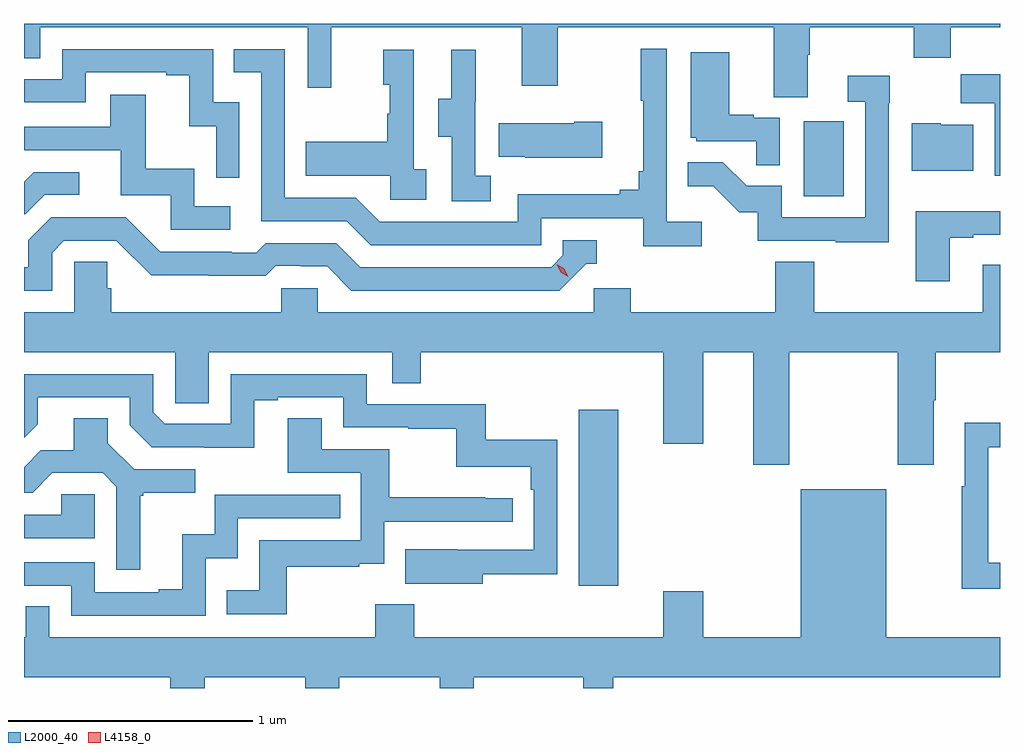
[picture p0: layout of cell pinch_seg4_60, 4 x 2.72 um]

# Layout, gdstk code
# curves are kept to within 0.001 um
import gdstk
lib = gdstk.Library(unit=1e-6, precision=1e-09)
def R(c, l, rs):  # rectangles x0, y0, x1, y1
    for r in rs: c.add(gdstk.rectangle(r[:2], r[2:], *l))
def P(c, l, *ps):  # polygons
    for p in ps: c.add(gdstk.Polygon(p, *l))
L2000_40 = (2000, 40)
L4158_0 = (4158, 0)

pinch_seg4_60 = lib.new_cell('pinch_seg4_60')
R(pinch_seg4_60, L2000_40, [(1039.787,830.496,1039.948,831.217), (1040.708,832.092,1040.872,832.399)])
P(pinch_seg4_60, L2000_40, [(1040.725,832.672),(1040.733,832.672),(1040.733,832.784),(1041.16,832.784),(1041.16,832.66),(1041.311,832.66),(1041.311,832.784),(1041.513,832.784),(1041.513,832.799),(1037.513,832.799),(1037.513,832.657),(1037.58,832.657),(1037.58,832.784),(1038.675,832.784),(1038.675,832.536),(1038.773,832.536),(1038.773,832.784),(1039.553,832.784),(1039.553,832.545),(1039.701,832.545),(1039.701,832.784),(1040.585,832.784),(1040.585,832.498),(1040.725,832.498)],
  [(1040.29,831.988),(1040.148,831.988),(1040.148,832.696),(1040.04,832.696),(1040.04,832.483),(1040.051,832.483),(1040.051,832.195),(1040.032,832.195),(1040.032,832.118),(1039.955,832.118),(1039.955,832.099),(1039.536,832.099),(1039.536,831.987),(1038.972,831.987),(1038.873,832.086),(1038.582,832.086),(1038.582,832.695),(1038.373,832.695),(1038.373,832.599),(1038.486,832.599),(1038.486,831.99),(1038.836,831.99),(1038.935,831.891),(1039.632,831.891),(1039.632,832.002),(1040.051,832.002),(1040.051,831.886),(1040.29,831.886)],
  [(1038.396,832.476),(1038.288,832.476),(1038.288,832.695),(1037.67,832.695),(1037.67,832.572),(1037.513,832.572),(1037.513,832.476),(1037.766,832.476),(1037.766,832.599),(1038.095,832.599),(1038.095,832.587),(1038.191,832.587),(1038.191,832.379),(1038.3,832.379),(1038.3,832.167),(1038.396,832.167)],
  [(1039.162,832.202),(1039.11,832.202),(1039.11,832.693),(1038.986,832.693),(1038.986,832.548),(1039.012,832.548),(1039.012,832.43),(1039.002,832.43),(1039.002,832.315),(1038.667,832.315),(1038.667,832.175),(1039.014,832.175),(1039.014,832.077),(1039.162,832.077)],
  [(1039.426,832.175),(1039.362,832.175),(1039.362,832.479),(1039.364,832.479),(1039.364,832.693),(1039.265,832.693),(1039.265,832.491),(1039.211,832.491),(1039.211,832.336),(1039.266,832.336),(1039.266,832.072),(1039.426,832.072)],
  [(1040.61,832.413),(1040.504,832.413),(1040.504,832.426),(1040.404,832.426),(1040.404,832.681),(1040.246,832.681),(1040.246,832.332),(1040.268,832.332),(1040.268,832.317),(1040.515,832.317),(1040.515,832.219),(1040.61,832.219)],
  [(1041.513,832.591),(1041.352,832.591),(1041.352,832.472),(1041.491,832.472),(1041.491,832.176),(1041.513,832.176)],
  [(1041.057,832.472),(1041.062,832.472),(1041.062,832.585),(1040.889,832.585),(1040.889,832.479),(1040.961,832.479),(1040.961,832.005),(1040.619,832.005),(1040.619,832.134),(1040.475,832.134),(1040.377,832.232),(1040.233,832.232),(1040.233,832.133),(1040.337,832.133),(1040.444,832.026),(1040.521,832.026),(1040.521,831.909),(1040.839,831.909),(1040.839,831.904),(1041.057,831.904)],
  [(1038.358,832.05),(1038.21,832.05),(1038.21,832.204),(1038.011,832.204),(1038.011,832.507),(1037.867,832.507),(1037.867,832.377),(1037.513,832.377),(1037.513,832.281),(1037.909,832.281),(1037.909,832.095),(1038.114,832.095),(1038.114,831.954),(1038.358,831.954)],
  [(1039.882,832.398),(1039.769,832.398),(1039.769,832.39),(1039.459,832.39),(1039.459,832.253),(1039.567,832.253),(1039.567,832.25),(1039.882,832.25)],
  [(1041.403,832.384),(1041.27,832.384),(1041.27,832.39),(1041.152,832.39),(1041.152,832.196),(1041.403,832.196)],
  [(1037.598,832.098),(1037.74,832.098),(1037.74,832.191),(1037.552,832.191),(1037.513,832.152),(1037.513,832.018),(1037.518,832.018)],
  [(1041.307,831.921),(1041.403,831.921),(1041.403,831.933),(1041.513,831.933),(1041.513,832.03),(1041.167,832.03),(1041.167,831.744),(1041.307,831.744)],
  [(1037.628,831.861),(1037.676,831.909),(1037.892,831.909),(1038.034,831.767),(1038.27,831.767),(1038.27,831.765),(1038.503,831.765),(1038.545,831.807),(1038.648,831.807),(1038.648,831.804),(1038.755,831.804),(1038.854,831.705),(1039.707,831.705),(1039.818,831.816),(1039.861,831.816),(1039.861,831.912),(1039.722,831.912),(1039.722,831.849),(1039.674,831.801),(1038.891,831.801),(1038.792,831.9),(1038.503,831.9),(1038.464,831.861),(1038.365,831.861),(1038.365,831.864),(1038.072,831.864),(1037.931,832.005),(1037.625,832.005),(1037.531,831.911),(1037.531,831.801),(1037.513,831.801),(1037.513,831.705),(1037.628,831.705)],
  [(1040.649,831.452),(1041.094,831.452),(1041.094,830.991),(1041.241,830.991),(1041.241,831.256),(1041.249,831.256),(1041.249,831.452),(1041.513,831.452),(1041.513,831.811),(1041.443,831.811),(1041.443,831.616),(1040.751,831.616),(1040.751,831.824),(1040.591,831.824),(1040.591,831.616),(1040,831.616),(1040,831.714),(1039.848,831.714),(1039.848,831.616),(1038.717,831.616),(1038.717,831.714),(1038.567,831.714),(1038.567,831.616),(1037.87,831.616),(1037.87,831.714),(1037.855,831.714),(1037.855,831.824),(1037.718,831.824),(1037.718,831.616),(1037.513,831.616),(1037.513,831.452),(1038.132,831.452),(1038.132,831.244),(1038.271,831.244),(1038.271,831.452),(1039.023,831.452),(1039.023,831.325),(1039.139,831.325),(1039.139,831.452),(1040.132,831.452),(1040.132,831.078),(1040.296,831.078),(1040.296,831.452),(1040.501,831.452),(1040.501,830.991),(1040.649,830.991)],
  [(1039.393,830.542),(1039.698,830.542),(1039.698,831.094),(1039.405,831.094),(1039.405,831.24),(1038.918,831.24),(1038.918,831.363),(1038.36,831.363),(1038.36,831.159),(1038.09,831.159),(1038.042,831.207),(1038.042,831.363),(1037.513,831.363),(1037.513,831.101),(1037.569,831.157),(1037.569,831.267),(1037.946,831.267),(1037.946,831.153),(1038.036,831.063),(1038.457,831.062),(1038.457,831.255),(1038.553,831.255),(1038.553,831.267),(1038.822,831.267),(1038.822,831.144),(1039.087,831.144),(1039.087,831.139),(1039.284,831.139),(1039.284,830.984),(1039.589,830.984),(1039.589,830.888),(1039.602,830.888),(1039.602,830.643),(1039.075,830.644),(1039.075,830.504),(1039.393,830.504)],
  [(1037.989,830.865),(1038.001,830.865),(1038.001,830.876),(1038.214,830.876),(1038.214,830.973),(1037.964,830.973),(1037.857,831.08),(1037.857,831.182),(1037.717,831.182),(1037.717,831.05),(1037.582,831.05),(1037.513,830.981),(1037.513,830.877),(1037.548,830.877),(1037.629,830.958),(1037.835,830.958),(1037.892,830.901),(1037.892,830.562),(1037.989,830.562)],
  [(1038.589,830.574),(1038.887,830.574),(1038.887,830.585),(1038.99,830.585),(1038.99,830.757),(1039.516,830.757),(1039.516,830.853),(1039.403,830.853),(1039.403,830.858),(1039.01,830.858),(1039.01,831.054),(1038.733,831.054),(1038.733,831.182),(1038.593,831.182),(1038.593,830.958),(1038.894,830.958),(1038.894,830.682),(1038.478,830.682),(1038.478,830.476),(1038.343,830.476),(1038.343,830.379),(1038.589,830.379)],
  [(1041.513,830.589),(1041.465,830.589),(1041.465,831.063),(1041.513,831.063),(1041.513,831.164),(1041.369,831.164),(1041.369,830.903),(1041.357,830.903),(1041.357,830.484),(1041.513,830.484)],
  [(1038.253,830.12),(1038.665,830.12),(1038.665,830.075),(1038.805,830.075),(1038.805,830.12),(1039.217,830.12),(1039.217,830.075),(1039.356,830.075),(1039.356,830.12),(1039.805,830.12),(1039.805,830.075),(1039.927,830.075),(1039.927,830.12),(1041.513,830.12),(1041.513,830.284),(1041.046,830.284),(1041.046,830.89),(1040.696,830.89),(1040.696,830.284),(1040.296,830.284),(1040.296,830.473),(1040.132,830.473),(1040.132,830.284),(1039.112,830.284),(1039.112,830.419),(1038.952,830.419),(1038.952,830.284),(1037.616,830.284),(1037.616,830.411),(1037.52,830.411),(1037.52,830.284),(1037.513,830.284),(1037.513,830.12),(1038.113,830.12),(1038.113,830.075),(1038.253,830.075)],
  [(1037.802,830.871),(1037.665,830.871),(1037.665,830.787),(1037.513,830.787),(1037.513,830.691),(1037.802,830.691)],
  [(1038.258,830.609),(1038.39,830.609),(1038.39,830.772),(1038.809,830.772),(1038.809,830.868),(1038.294,830.868),(1038.294,830.707),(1038.161,830.707),(1038.161,830.482),(1038.065,830.482),(1038.065,830.469),(1037.802,830.469),(1037.802,830.592),(1037.513,830.592),(1037.513,830.496),(1037.706,830.496),(1037.706,830.373),(1038.258,830.373)])
P(pinch_seg4_60, L4158_0, [(1039.744,831.761),(1039.713,831.781),(1039.696,831.814),(1039.696,831.814),(1039.697,831.814),(1039.727,831.794),(1039.744,831.762),(1039.744,831.761)])

lib.write_gds('pinch_seg4_60.gds')
